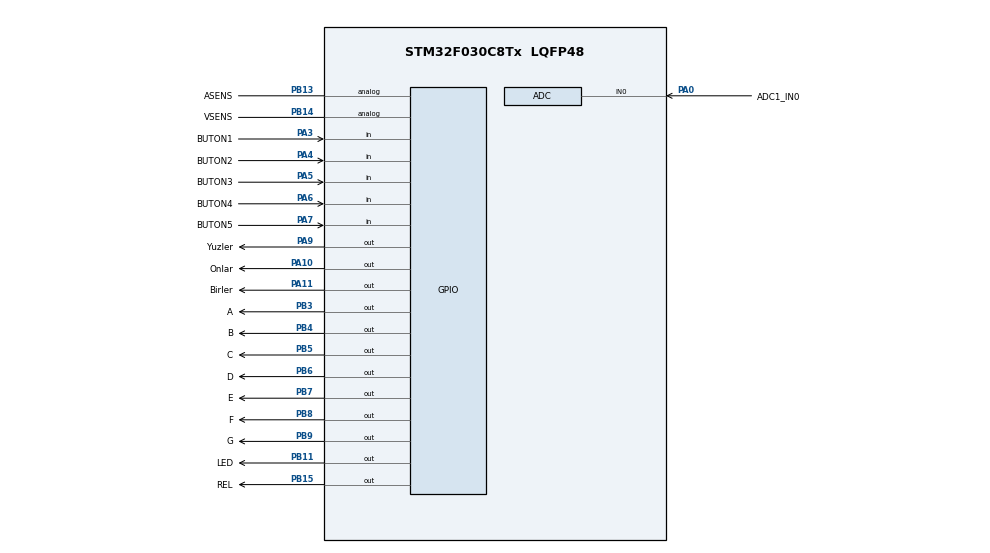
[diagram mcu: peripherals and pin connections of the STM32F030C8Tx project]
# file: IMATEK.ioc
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ADC.ContinuousConvMode=ENABLE
Mcu.Family=STM32F0
Mcu.Name=STM32F030C8Tx
Mcu.Package=LQFP48
PA0.GPIO_Label=ADC1_IN0
PA0.Mode=IN0
PA0.Signal=ADC_IN0
PA10.GPIO_Label=Onlar
PA10.Signal=GPIO_Output
PA11.GPIO_Label=Birler
PA11.Signal=GPIO_Output
PA13.Mode=Serial_Wire
PA13.Signal=SYS_SWDIO
PA14.Mode=Serial_Wire
PA14.Signal=SYS_SWCLK
PA3.GPIO_Label=BUTON1
PA3.Signal=GPIO_Input
PA4.GPIO_Label=BUTON2
PA4.Signal=GPIO_Input
PA5.GPIO_Label=BUTON3
PA5.Signal=GPIO_Input
PA6.GPIO_Label=BUTON4
PA6.Signal=GPIO_Input
PA7.GPIO_Label=BUTON5
PA7.Signal=GPIO_Input
PA9.GPIO_Label=Yuzler
PA9.Signal=GPIO_Output
PB11.GPIO_Label=LED
PB11.Signal=GPIO_Output
PB13.GPIO_Label=ASENS
PB13.Signal=GPIO_Analog
PB14.GPIO_Label=VSENS
PB14.Signal=GPIO_Analog
PB15.GPIO_Label=REL
PB15.Signal=GPIO_Output
PB3.GPIO_Label=A
PB3.Signal=GPIO_Output
PB4.GPIO_Label=B
PB4.Signal=GPIO_Output
PB5.GPIO_Label=C
PB5.Signal=GPIO_Output
PB6.GPIO_Label=D
PB6.Signal=GPIO_Output
PB7.GPIO_Label=E
PB7.Signal=GPIO_Output
PB8.GPIO_Label=F
PB8.Signal=GPIO_Output
PB9.GPIO_Label=G
PB9.Signal=GPIO_Output
ProjectManager.HeapSize=0x200
ProjectManager.StackSize=0x400
ProjectManager.TargetToolchain=STM32CubeIDE
board=custom

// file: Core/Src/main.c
/* USER CODE BEGIN Header */
/**
  ******************************************************************************
  * @file           : main.c
  * @brief          : Main program body
  ******************************************************************************
  * @attention
  *
  * Copyright (c) 2022 STMicroelectronics.
  * All rights reserved.
  *
  * This software is licensed under terms that can be found in the LICENSE file
  * in the root directory of this software component.
  * If no LICENSE file comes with this software, it is provided AS-IS.
  *
  ******************************************************************************
  */
/* USER CODE END Header */
#include "main.h"

/* USER CODE BEGIN Includes */

#include "SevenSegment3x7.h"

/* USER CODE END Includes */

/* USER CODE BEGIN PD */

//#define Setup_Button_State HAL_GPIO_ReadPin(BUTON5_GPIO_Port, BUTON5_Pin)
#define yukselt_butonu    HAL_GPIO_ReadPin(BUTON4_GPIO_Port, BUTON4_Pin)
#define azalt_butonu      HAL_GPIO_ReadPin(BUTON3_GPIO_Port, BUTON3_Pin)
#define Ust_deger_butonu  HAL_GPIO_ReadPin(BUTON2_GPIO_Port, BUTON2_Pin)
#define alt_deger_butonu  HAL_GPIO_ReadPin(BUTON1_GPIO_Port, BUTON1_Pin)

/* USER CODE END PD */

ADC_HandleTypeDef hadc;

void SystemClock_Config(void);
static void MX_GPIO_Init(void);
static void MX_ADC_Init(void);

/* USER CODE BEGIN 0 */

uint16_t adcDeger = 0;
uint16_t yeniAdcDeger = 0;

int adc_oku();

int a=0;
int u=0;

int setdeger=0;
int ustdeger=0;
int altdeger=0;
int altsetdeger=0;
int ustsetdeger=0;

int z=0;

/* USER CODE END 0 */

int main(void)
{

  /* MCU Configuration--------------------------------------------------------*/

  /* Reset of all peripherals, Initializes the Flash interface and the Systick. */
  HAL_Init();

  /* Configure the system clock */
  SystemClock_Config();

  /* Initialize all configured peripherals */
  MX_GPIO_Init();
  MX_ADC_Init();
  /* USER CODE BEGIN 2 */
  adc_oku();

  /* USER CODE END 2 */

  /* Infinite loop */
  while (1)
  {

    /* USER CODE BEGIN 3 */

	  		//HAL_Delay();

	  	  	  if(z == 0)
	  	  	  {
  	  			  HAL_Delay(100);
	  	  		  z=1;
	  	  	  }

	  	  	 if(0 == Ust_deger_butonu)
	  	  		        {

	  	  		        	u++;
	  	  		        	HAL_Delay(200);
	  	  		        }

	  	     if(0 == alt_deger_butonu)
	  	  	  	  	    {
	  	    	 	 	 	a++;
	  	    	 	 	 	HAL_Delay(200);
	  	  	  	  	    }

	  	     //alt deger ayarları

	  	    if( ((a % 2) == 0) && ((u % 2) == 0) )
	  	    {

	  	    	 adc_oku();

	  	    	for(int count = 0 ; count<500 ; count++ )
	  	    	{

	  	    		 Disp(yeniAdcDeger);
	  	    	}

	  	    	// adc_oku();
	  	    	//	Disp(yeniAdcDeger);

	  	    	if((a == 0) || (a == 1))
		        {
	  	    		altdeger=yeniAdcDeger;
	  	    	}

	  	    	if(a>0)
	  	    	{

	  	    		altdeger=altsetdeger;
	  	    	}

	  	    	if((u == 0) || (u == 1))
			        {
		  	    		ustdeger=yeniAdcDeger;
		  	    	}

		  	    	if(u>0)
		  	    	{

		  	    		ustdeger=ustsetdeger;
		  	    	}

	  	    }

	        if( !(a % 2 == 0) )
	        {

	        	if(0 == yukselt_butonu)
	        	{
	        		HAL_Delay(200);
	        		altdeger++;
	        	}

	        	if(0 == azalt_butonu)
	        	{
	        		HAL_Delay(200);
	        		altdeger--;
	        	}

	        	altsetdeger=altdeger;
	        	Disp(altsetdeger);

	        }

	        if( !(u % 2 == 0) )
	        {

	        	if(0 == yukselt_butonu)
	        	{
	        		HAL_Delay(200);
	        		ustdeger++;
	        	}

	        	if(0 == azalt_butonu)
	        	{
	        		HAL_Delay(200);
	        		ustdeger--;
	        	}

	        	ustsetdeger=ustdeger;
	        	Disp(ustsetdeger);

	        }

	        if((yeniAdcDeger <= ustsetdeger ) && (yeniAdcDeger >= altsetdeger ) )
	        {
	        	HAL_GPIO_WritePin(LED_GPIO_Port, LED_Pin, SET);

	        }

	        else
	        {
	        	HAL_GPIO_WritePin(LED_GPIO_Port, LED_Pin, RESET);

	        }

  }
  /* USER CODE END 3 */
}

void SystemClock_Config(void)
{
  RCC_OscInitTypeDef RCC_OscInitStruct = {0};
  RCC_ClkInitTypeDef RCC_ClkInitStruct = {0};

  /** Initializes the RCC Oscillators according to the specified parameters
  * in the RCC_OscInitTypeDef structure.
  */
  RCC_OscInitStruct.OscillatorType = RCC_OSCILLATORTYPE_HSI|RCC_OSCILLATORTYPE_HSI14;
  RCC_OscInitStruct.HSIState = RCC_HSI_ON;
  RCC_OscInitStruct.HSI14State = RCC_HSI14_ON;
  RCC_OscInitStruct.HSICalibrationValue = RCC_HSICALIBRATION_DEFAULT;
  RCC_OscInitStruct.HSI14CalibrationValue = 16;
  RCC_OscInitStruct.PLL.PLLState = RCC_PLL_NONE;
  if (HAL_RCC_OscConfig(&RCC_OscInitStruct) != HAL_OK)
  {
    Error_Handler();
  }
  /** Initializes the CPU, AHB and APB buses clocks
  */
  RCC_ClkInitStruct.ClockType = RCC_CLOCKTYPE_HCLK|RCC_CLOCKTYPE_SYSCLK
                              |RCC_CLOCKTYPE_PCLK1;
  RCC_ClkInitStruct.SYSCLKSource = RCC_SYSCLKSOURCE_HSI;
  RCC_ClkInitStruct.AHBCLKDivider = RCC_SYSCLK_DIV1;
  RCC_ClkInitStruct.APB1CLKDivider = RCC_HCLK_DIV1;

  if (HAL_RCC_ClockConfig(&RCC_ClkInitStruct, FLASH_LATENCY_0) != HAL_OK)
  {
    Error_Handler();
  }
}

static void MX_ADC_Init(void)
{

  ADC_ChannelConfTypeDef sConfig = {0};

  /** Configure the global features of the ADC (Clock, Resolution, Data Alignment and number of conversion)
  */
  hadc.Instance = ADC1;
  hadc.Init.ClockPrescaler = ADC_CLOCK_ASYNC_DIV1;
  hadc.Init.Resolution = ADC_RESOLUTION_12B;
  hadc.Init.DataAlign = ADC_DATAALIGN_RIGHT;
  hadc.Init.ScanConvMode = ADC_SCAN_DIRECTION_FORWARD;
  hadc.Init.EOCSelection = ADC_EOC_SINGLE_CONV;
  hadc.Init.LowPowerAutoWait = DISABLE;
  hadc.Init.LowPowerAutoPowerOff = DISABLE;
  hadc.Init.ContinuousConvMode = ENABLE;
  hadc.Init.DiscontinuousConvMode = DISABLE;
  hadc.Init.ExternalTrigConv = ADC_SOFTWARE_START;
  hadc.Init.ExternalTrigConvEdge = ADC_EXTERNALTRIGCONVEDGE_NONE;
  hadc.Init.DMAContinuousRequests = DISABLE;
  hadc.Init.Overrun = ADC_OVR_DATA_PRESERVED;
  if (HAL_ADC_Init(&hadc) != HAL_OK)
  {
    Error_Handler();
  }
  /** Configure for the selected ADC regular channel to be converted.
  */
  sConfig.Channel = ADC_CHANNEL_0;
  sConfig.Rank = ADC_RANK_CHANNEL_NUMBER;
  sConfig.SamplingTime = ADC_SAMPLETIME_1CYCLE_5;
  if (HAL_ADC_ConfigChannel(&hadc, &sConfig) != HAL_OK)
  {
    Error_Handler();
  }

}

static void MX_GPIO_Init(void)
{
  GPIO_InitTypeDef GPIO_InitStruct = {0};

  /* GPIO Ports Clock Enable */
  __HAL_RCC_GPIOA_CLK_ENABLE();
  __HAL_RCC_GPIOB_CLK_ENABLE();

  /*Configure GPIO pin Output Level */
  HAL_GPIO_WritePin(GPIOB, LED_Pin|REL_Pin|A_Pin|B_Pin
                          |C_Pin|D_Pin|E_Pin|F_Pin
                          |G_Pin, GPIO_PIN_RESET);

  /*Configure GPIO pin Output Level */
  HAL_GPIO_WritePin(GPIOA, Yuzler_Pin|Onlar_Pin|Birler_Pin, GPIO_PIN_RESET);

  /*Configure GPIO pins : BUTON1_Pin BUTON2_Pin BUTON3_Pin BUTON4_Pin
                           BUTON5_Pin */
  GPIO_InitStruct.Pin = BUTON1_Pin|BUTON2_Pin|BUTON3_Pin|BUTON4_Pin
                          |BUTON5_Pin;
  GPIO_InitStruct.Mode = GPIO_MODE_INPUT;
  GPIO_InitStruct.Pull = GPIO_NOPULL;
  HAL_GPIO_Init(GPIOA, &GPIO_InitStruct);

  /*Configure GPIO pins : LED_Pin REL_Pin A_Pin B_Pin
                           C_Pin D_Pin E_Pin F_Pin
                           G_Pin */
  GPIO_InitStruct.Pin = LED_Pin|REL_Pin|A_Pin|B_Pin
                          |C_Pin|D_Pin|E_Pin|F_Pin
                          |G_Pin;
  GPIO_InitStruct.Mode = GPIO_MODE_OUTPUT_PP;
  GPIO_InitStruct.Pull = GPIO_NOPULL;
  GPIO_InitStruct.Speed = GPIO_SPEED_FREQ_LOW;
  HAL_GPIO_Init(GPIOB, &GPIO_InitStruct);

  /*Configure GPIO pins : ASENS_Pin VSENS_Pin */
  GPIO_InitStruct.Pin = ASENS_Pin|VSENS_Pin;
  GPIO_InitStruct.Mode = GPIO_MODE_ANALOG;
  GPIO_InitStruct.Pull = GPIO_NOPULL;
  HAL_GPIO_Init(GPIOB, &GPIO_InitStruct);

  /*Configure GPIO pins : Yuzler_Pin Onlar_Pin Birler_Pin */
  GPIO_InitStruct.Pin = Yuzler_Pin|Onlar_Pin|Birler_Pin;
  GPIO_InitStruct.Mode = GPIO_MODE_OUTPUT_PP;
  GPIO_InitStruct.Pull = GPIO_NOPULL;
  GPIO_InitStruct.Speed = GPIO_SPEED_FREQ_LOW;
  HAL_GPIO_Init(GPIOA, &GPIO_InitStruct);

}

/* USER CODE BEGIN 4 */
adc_oku(){

				HAL_ADC_Start(&hadc);
		  	    adcDeger = HAL_ADC_GetValue(&hadc);
		  	    yeniAdcDeger=adcDeger/10;

}

/* USER CODE END 4 */

void Error_Handler(void)
{
  __disable_irq();
  while (1)
  {
  }
}
